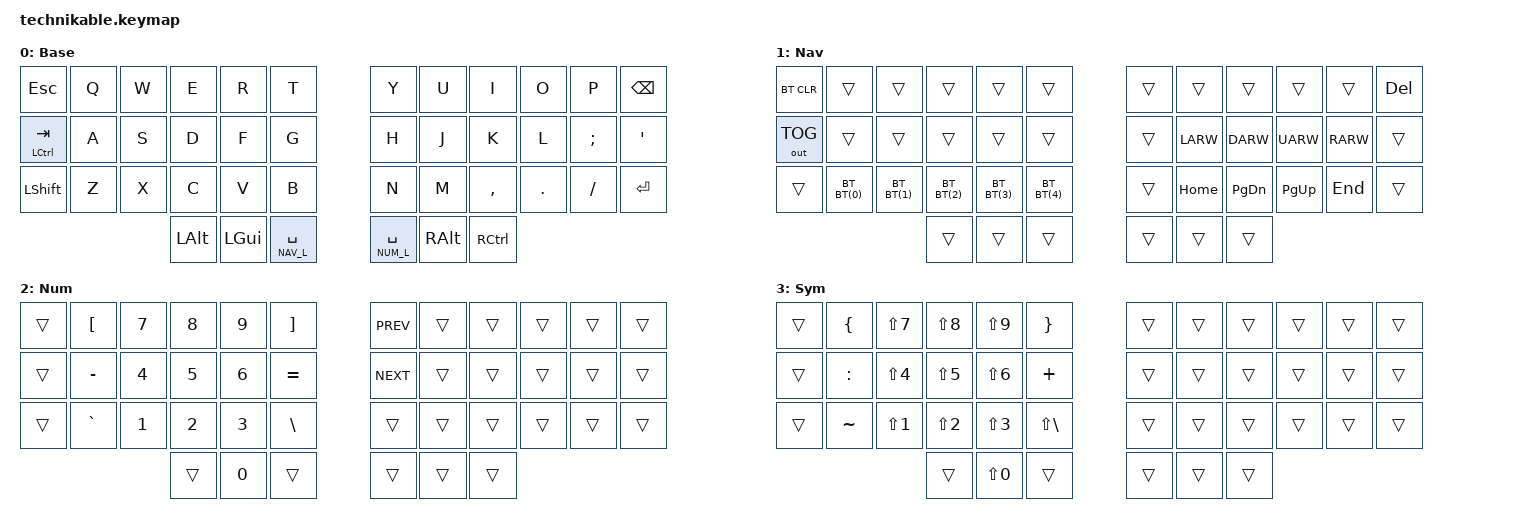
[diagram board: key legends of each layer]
/*
 * Copyright (c) 2022 Pete Johanson
 *
 * SPDX-License-Identifier: MIT
 */

#include <behaviors.dtsi>
#include <dt-bindings/zmk/keys.h>
#include <dt-bindings/zmk/bt.h>
#include <dt-bindings/zmk/outputs.h>

#define QWERTY_BASE 1

// #define TBLE_ORTHO   true
// #define TBLE_MIT     true
#define TBLE_DUAL_2U true

#define BAS_L 0
#define NAV_L 1
#define NUM_L 2
#define SYM_L 3

// Using layer taps on thumbs, having quick tap as well helps w/ repeating space/backspace
&lt { quick_tap_ms = <200>; };

#define BT(n) BT_SEL n

/ {
    chosen {
       zmk,matrix_transform =
#ifdef TBLE_DUAL_2U
                       &dual_2u_transform;
#elif defined(TBLE_MIT)
                       &mit_transform;
#else
                       &ortho_transform;
#endif
    };

    conditional_layers {
        compatible = "zmk,conditional-layers";
	tri_layer {
	    if-layers = <NAV_L NUM_L>;
	    then-layer = <SYM_L>;
	};
    };

    keymap {
        compatible = "zmk,keymap";

        base_layer {
            label = "Base";
            bindings = <
#ifdef QWERTY_BASE
 &kp ESC        &kp Q      &kp W      &kp E       &kp R          &kp T          &kp Y            &kp U          &kp I       &kp O      &kp P         &kp BKSP
 &mt LCTRL TAB  &kp A      &kp S      &kp D       &kp F          &kp G          &kp H            &kp J          &kp K       &kp L      &kp SEMI      &kp QUOT
 &kp LSHFT      &kp Z      &kp X      &kp C       &kp V          &kp B          &kp N            &kp M          &kp COMMA   &kp DOT    &kp FSLH      &kp RET
#else
 &kp ESC        &kp Q      &kp W      &kp F       &kp P          &kp B          &kp J            &kp L          &kp U       &kp Y      &kp QUOT     &kp BKSP
 &mt LCTRL TAB  &kp A      &kp R      &kp S       &kp T          &kp G          &kp M            &kp N          &kp E       &kp I      &kp O        &kp QUOT
 &kp LSHFT      &kp Z      &kp X      &kp C       &kp D          &kp V          &kp K            &kp H          &kp COMMA   &kp DOT    &kp FSLH     &kp RET
#endif
#ifdef TBLE_DUAL_2U
                       &kp LALT  &kp LGUI      &lt NAV_L SPACE                &lt NUM_L SPACE              &kp RALT    &kp RCTRL
#elif defined(TBLE_MIT)
                       &kp LCTRL  &kp LALT    &mo NAV_L          &kp SPACE                   &mo NUM_L      &kp RALT    &kp RCTRL
#else
                       &kp LCTRL  &kp LALT    &mo NAV_L      &kp SPACE      &kp SPACE        &mo NUM_L      &kp RALT    &kp RCTRL
#endif
            >;
        };

        nav_layer {
            label = "Nav";
            bindings = <
&bt BT_CLR    &trans     &trans     &trans      &trans          &trans       &trans     &trans         &trans      &trans     &trans     &kp DEL
&out OUT_TOG  &trans     &trans     &trans      &trans          &trans       &trans     &kp LARW       &kp DARW    &kp UARW   &kp RARW   &trans
&trans        &bt BT(0)  &bt BT(1)  &bt BT(2)   &bt BT(3)       &bt BT(4)    &trans     &kp HOME       &kp PG_DN   &kp PG_UP  &kp END    &trans
#ifdef TBLE_DUAL_2U
                      &trans     &trans              &trans                    &trans       &trans         &trans
#elif defined(TBLE_MIT)
                      &trans     &trans      &trans                &trans             &trans      &trans   &trans
#else
                      &trans     &trans      &trans          &trans       &trans    &trans  &trans         &trans
#endif
            >;
        };

        num_layer {
            label = "Num";
            bindings = <
&trans     &kp LBKT   &kp N7     &kp N8      &kp N9    &kp RBKT    &kp C_PREV    &trans         &trans       &trans       &trans     &trans
&trans     &kp MINUS  &kp N4     &kp N5      &kp N6    &kp EQUAL   &kp C_NEXT    &trans         &trans       &trans       &trans     &trans
&trans     &kp GRAVE  &kp N1     &kp N2      &kp N3    &kp BSLH    &trans        &trans         &trans       &trans       &trans     &trans
#ifdef TBLE_DUAL_2U
                     &trans     &kp N0              &trans                 &trans            &trans         &trans
#elif defined(TBLE_MIT)
                     &trans     &kp N0      &trans           &none            &kp ESC        &kp DEL      &trans
#else
                     &trans     &kp N0      &trans    &none         &none     &kp ESC        &kp DEL      &trans
#endif
            >;
        };

        sym_layer {
            label = "Sym";
            bindings = <
&trans     &kp LBRC   &kp LS(N7) &kp LS(N8)  &kp LS(N9)   &kp RBRC     &trans     &trans    &trans       &trans       &trans     &trans
&trans     &kp COLON  &kp LS(N4) &kp LS(N5)  &kp LS(N6)   &kp PLUS     &trans     &trans    &trans       &trans       &trans     &trans
&trans     &kp TILDE  &kp LS(N1) &kp LS(N2)  &kp LS(N3)   &kp LS(BSLH) &trans     &trans    &trans       &trans       &trans     &trans
#ifdef TBLE_DUAL_2U
                      &trans     &kp LS(N0)              &trans                    &trans       &trans         &trans
#elif defined(TBLE_MIT)
                      &trans     &kp LS(N0)      &trans                &trans             &trans      &trans   &trans
#else
                      &trans     &kp LS(N0)      &trans          &trans       &trans    &trans  &trans         &trans
#endif
            >;
        };

    };
};
